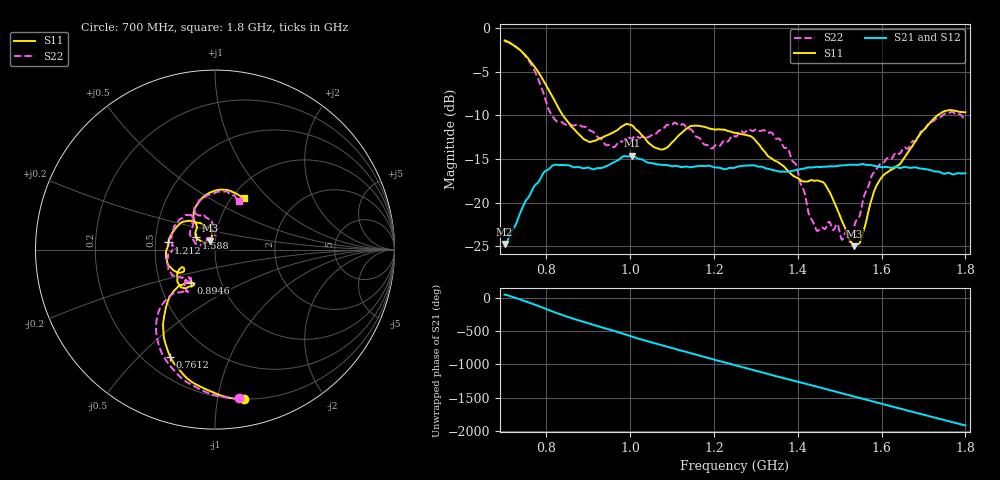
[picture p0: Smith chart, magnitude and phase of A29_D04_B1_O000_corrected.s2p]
! Created with skrf 1.9.0 (http://scikit-rf.org).
# Hz S RI R 50.0
!freq ReS11 ImS11 ReS21 ImS21 ReS12 ImS12 ReS22 ImS22
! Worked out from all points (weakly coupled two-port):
!   1601 points, 700 MHz to 1.8 GHz, reference 50 ohm
!   highest |S21| = -14.61 dB at 1.004 GHz (marker M1); lowest = -24.7 dB at 700 MHz (marker M2)
!   lowest |S11| = -25.0 dB at 1.535 GHz (marker M3), VSWR 1.12, Z = 47.3 + j4.77 ohm
!   |S11| at or under -10 dB: 839.1 MHz to 1.733 GHz (894.3 MHz wide, 69.5 % of centre)
!   |S22| runs from -24.5 to -1.5 dB; largest |S21 - S12| = 0.0033
!   S11 on the Smith chart (normalised r, x): 700 MHz: 0.20, -1.19; 761.2 MHz: 0.30, -0.62; 894.6 MHz: 0.72, -0.28; 1.212 GHz: 0.59, +0.05; 1.588 GHz: 0.80, +0.11; 1.8 GHz: 1.13, +0.73
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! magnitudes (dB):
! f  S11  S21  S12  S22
! 700 MHz  -1.4  -24.7  -24.5  -1.5
! 761.2 MHz  -3.8  -19.0  -18.9  -4.0
! 818.9 MHz  -8.3  -15.7  -15.8  -10.4
! 883.6 MHz  -12.4  -16.0  -15.9  -11.3
! 894.6 MHz  -12.9  -16.0  -16.1  -11.4
! 958.5 MHz  -12.0  -15.4  -15.4  -13.6
! 1.004 GHz  -11.2  -14.6  -14.7  -12.7
! 1.067 GHz  -13.8  -15.6  -15.6  -11.8
! 1.126 GHz  -11.9  -15.9  -15.9  -11.0
! 1.212 GHz  -11.6  -16.0  -16.0  -13.5
! 1.25 GHz  -12.0  -16.0  -15.9  -12.4
! 1.357 GHz  -15.5  -16.5  -16.4  -12.7
! 1.396 GHz  -17.1  -16.3  -16.3  -15.7
! 1.434 GHz  -17.4  -16.0  -15.9  -22.0
! 1.467 GHz  -18.1  -15.9  -15.9  -22.9
! 1.524 GHz  -24.3  -15.7  -15.6  -24.5
! 1.535 GHz  -25.0  -15.7  -15.7  -22.7
! 1.55 GHz  -24.3  -15.6  -15.6  -21.0
! 1.588 GHz  -18.1  -15.8  -15.8  -16.2
! 1.617 GHz  -16.4  -16.0  -15.9  -14.9
! 1.733 GHz  -10.0  -16.4  -16.5  -10.3
! 1.8 GHz  -9.7  -16.6  -16.6  -10.3
